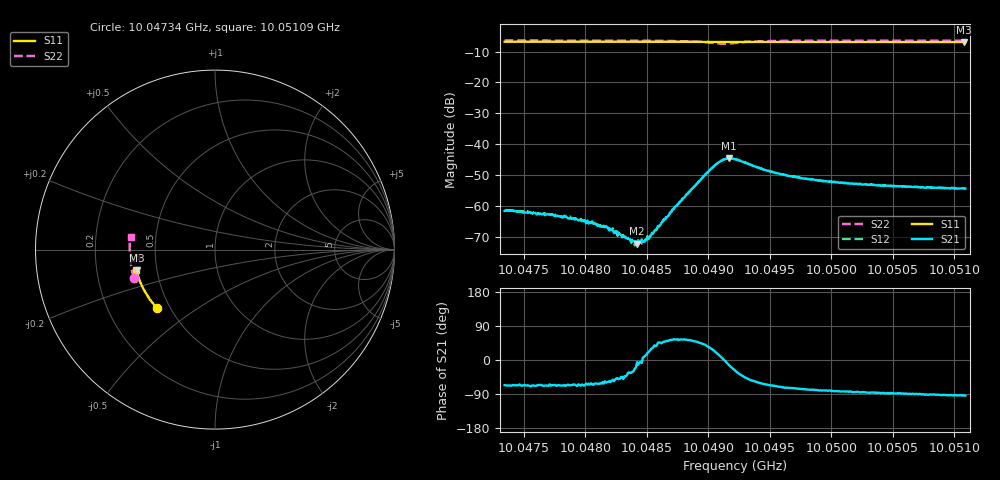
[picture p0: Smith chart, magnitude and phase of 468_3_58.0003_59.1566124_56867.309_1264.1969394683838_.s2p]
#  HZ  S  RI  R  50.00
! Rohde & Schwarz Vector Network Analyzer
! Rohde-Schwarz,ZNB20-2Port,1311601062101988,3.16
! Created: UTC 3/21/2024, 1:11:15 AM
! freq[Hz]  re:S11  im:S11  re:S21  im:S21  re:S12  im:S12  re:S22  im:S22
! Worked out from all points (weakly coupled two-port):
!   401 points, 10.04734 GHz to 10.05109 GHz, reference 50 ohm
!   highest |S21| = -44.61 dB at 10.04917 GHz (marker M1); lowest = -72.2 dB at 10.04842 GHz (marker M2)
!   lowest |S11| = -6.9 dB at 10.05108 GHz (marker M3), VSWR 2.65, Z = 19.1 - j5.52 ohm
!   |S11| at or under -10 dB: nowhere
!   |S22| runs from -7.5 to -6.4 dB; largest |S21 - S12| = 0.00042
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1.0047344e10  -0.3212 -0.3274  0.000332 -0.000754  0.000403 -0.000758  -0.4519 -0.1596
1.0047691e10  -0.3366 -0.3106  0.00028 -0.000683  0.000342 -0.000675  -0.4586 -0.1367
1.0047972e10  -0.3484 -0.2963  0.00024 -0.000508  0.000255 -0.000508  -0.463 -0.1175
1.0048065e10  -0.3522 -0.2915  0.000212 -0.000467  0.000268 -0.000455  -0.4643 -0.111
1.0048206e10  -0.3579 -0.2841  0.000223 -0.000359  0.000227 -0.000337  -0.4662 -0.1008
1.0048253e10  -0.3596 -0.2817  0.000256 -0.000289  0.000236 -0.000279  -0.4667 -0.0973
1.0048393e10  -0.3652 -0.2742  0.000233 -0.00013  0.000269 -8.48e-05  -0.4679 -0.0864
1.0048421e10  -0.3661 -0.2727  0.000243 -2.43e-05  0.000211 -6.86e-05  -0.4678 -0.0843
1.0048496e10  -0.369 -0.2685  0.000279 6.88e-05  0.000283 9.3e-05  -0.4682 -0.078
1.0048534e10  -0.3704 -0.2665  0.000294 0.000157  0.000299 0.000153  -0.4683 -0.0747
1.0048599e10  -0.3728 -0.2629  0.000322 0.00033  0.000352 0.000321  -0.4681 -0.0691
1.0048805e10  -0.38 -0.2514  0.000788 0.00111  0.000734 0.00118  -0.464 -0.0488
1.0049011e10  -0.3869 -0.2397  0.00318 0.00206  0.00302 0.00223  -0.4413 -0.0297
1.0049105e10  -0.3896 -0.2343  0.00531 0.000692  0.00528 0.00103  -0.4228 -0.0396
1.004917e10  -0.3917 -0.2309  0.0057 -0.00144  0.00575 -0.00106  -0.4225 -0.0565
1.0049217e10  -0.3933 -0.2283  0.00504 -0.00268  0.00522 -0.00237  -0.4307 -0.0647
1.0049536e10  -0.4031 -0.2099  0.0013 -0.0032  0.00145 -0.00317  -0.4686 -0.044
1.0049845e10  -0.4118 -0.1914  0.000544 -0.00261  0.000674 -0.0026  -0.4748 -0.0167
1.0050201e10  -0.4204 -0.1698  0.000213 -0.00226  0.000342 -0.00225  -0.476 0.0104
1.0050472e10  -0.4266 -0.1531  8.82e-05 -0.0021  0.000213 -0.00209  -0.4754 0.0297
1.0051081e10  -0.4373 -0.1147  -9.04e-05 -0.0019  -1.27e-05 -0.0019  -0.4707 0.0711
1.005109e10  -0.4377 -0.1143  -0.000137 -0.00191  -4.22e-05 -0.00193  -0.4706 0.0718
